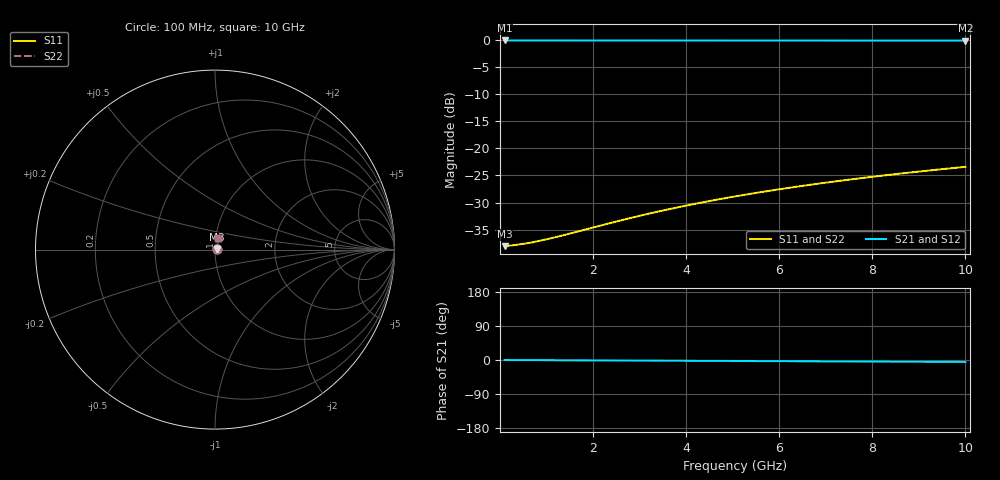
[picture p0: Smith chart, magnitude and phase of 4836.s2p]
# Hz S RI R 50.00
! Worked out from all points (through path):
!   100 points, 100 MHz to 10 GHz, reference 50 ohm
!   highest |S21| = -0.11 dB at 100 MHz (marker M1); lowest = -0.1 dB at 10 GHz (marker M2)
!   lowest |S11| = -38.1 dB at 100 MHz (marker M3), VSWR 1.03, Z = 51.3 + j0.0668 ohm
!   |S11| at or under -10 dB: start of sweep to end of sweep
!   |S22| runs from -38.1 to -23.4 dB; largest |S21 - S12| = 0
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1e8  0.0125 0.000652  0.9875 -0.000886  0.9875 -0.000886  0.0125 0.000652
3e8  0.0126 0.00195  0.9874 -0.00266  0.9874 -0.00266  0.0126 0.00195
5e8  0.0127 0.00326  0.9873 -0.00443  0.9873 -0.00443  0.0127 0.00326
8e8  0.0129 0.00521  0.9871 -0.00709  0.9871 -0.00709  0.0129 0.00521
1e9  0.0129 0.00651  0.9871 -0.00886  0.9871 -0.00886  0.0129 0.00651
1.2e9  0.013 0.00781  0.987 -0.0106  0.987 -0.0106  0.013 0.00781
1.8e9  0.0132 0.0117  0.9868 -0.0159  0.9868 -0.0159  0.0132 0.0117
2.3e9  0.0134 0.015  0.9866 -0.0204  0.9866 -0.0204  0.0134 0.015
2.7e9  0.0136 0.0176  0.9864 -0.0239  0.9864 -0.0239  0.0136 0.0176
3.1e9  0.0137 0.0202  0.9862 -0.0274  0.9862 -0.0274  0.0137 0.0202
3.4e9  0.0139 0.0221  0.9861 -0.0301  0.9861 -0.0301  0.0139 0.0221
3.8e9  0.0141 0.0247  0.9859 -0.0336  0.9859 -0.0336  0.0141 0.0247
4.2e9  0.0143 0.0273  0.9856 -0.0372  0.9856 -0.0372  0.0143 0.0273
4.6e9  0.0145 0.0299  0.9854 -0.0407  0.9854 -0.0407  0.0145 0.0299
5.1e9  0.0149 0.0331  0.985 -0.0451  0.985 -0.0451  0.0149 0.0331
5.5e9  0.0151 0.0357  0.9848 -0.0486  0.9848 -0.0486  0.0151 0.0357
5.9e9  0.0154 0.0383  0.9845 -0.0521  0.9845 -0.0521  0.0154 0.0383
6.7e9  0.0161 0.0434  0.9838 -0.0592  0.9838 -0.0592  0.0161 0.0434
7.5e9  0.0168 0.0486  0.983 -0.0662  0.983 -0.0662  0.0168 0.0486
8.4e9  0.0177 0.0543  0.9821 -0.0741  0.9821 -0.0741  0.0177 0.0543
9.2e9  0.0185 0.0595  0.9812 -0.0811  0.9812 -0.0811  0.0185 0.0595
1e10  0.0195 0.0646  0.9802 -0.0881  0.9802 -0.0881  0.0195 0.0646
